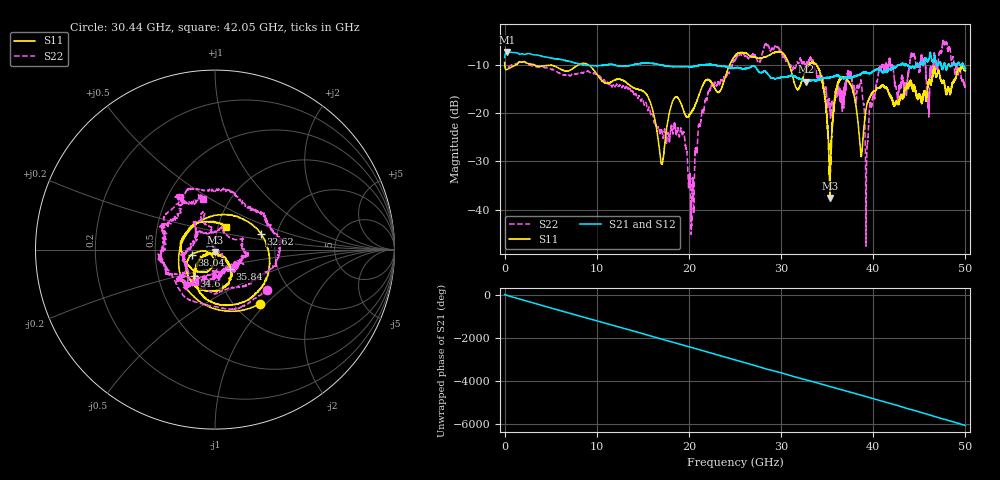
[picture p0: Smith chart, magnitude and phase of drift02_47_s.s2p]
!Created with skrf (http://scikit-rf.org).
# Hz S RI R 50.0
!freq ReS11 ImS11 ReS21 ImS21 ReS12 ImS12 ReS22 ImS22
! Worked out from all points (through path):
!   10001 points, 300 kHz to 50 GHz, reference 50 ohm
!   highest |S21| = -7.32 dB at 305.3 MHz (marker M1); lowest = -13.5 dB at 32.73 GHz (marker M2)
!   group delay of S21, straight-line fit = 335 ps
!   lowest |S11| = -37.6 dB at 35.31 GHz (marker M3), VSWR 1.03, Z = 50.1 - j1.32 ohm
!   |S11| at or under -10 dB: 3.226 GHz to 8.004 GHz (4.777 GHz wide, 85.1 % of centre); 9.106 GHz to 24.41 GHz (15.31 GHz wide, 91.3 % of centre); 33.85 GHz to end of sweep (the widest 3 of 9)
!   |S22| runs from -47.6 to -4.9 dB; largest |S21 - S12| = 0.013
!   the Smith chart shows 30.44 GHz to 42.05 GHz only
!   S11 on the Smith chart (normalised r, x): 30.44 GHz: 1.31, -0.93; 32.62 GHz: 1.65, +0.32; 34.6 GHz: 0.76, -0.23; 35.84 GHz: 1.15, -0.25; 38.04 GHz: 0.77, -0.04; 42.05 GHz: 1.10, +0.28
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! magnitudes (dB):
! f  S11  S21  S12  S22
! 300 kHz  -9.5  -8.5  -8.5  -9.4
! 305.3 MHz  -10.9  -7.3  -7.3  -10.6
! 8.335 GHz  -9.7  -9.9  -9.9  -11.6
! 16.67 GHz  -25.6  -9.9  -9.9  -22.9
! 19.3 GHz  -18.9  -10.4  -10.3  -24.4
! 20.37 GHz  -19.5  -10.3  -10.3  -34.7
! 21.94 GHz  -13.1  -10.0  -9.9  -17.1
! 25 GHz  -8.1  -10.6  -10.6  -9.0
! 30.44 GHz  -8.1  -12.5  -12.5  -8.7
! 32.62 GHz  -11.4  -13.2  -13.3  -10.3
! 32.73 GHz  -10.9  -13.5  -13.5  -9.8
! 33.34 GHz  -9.5  -13.1  -13.2  -9.0
! 34.6 GHz  -14.5  -12.8  -12.7  -13.5
! 35.31 GHz  -37.6  -12.5  -12.6  -19.2
! 35.84 GHz  -17.3  -12.2  -12.3  -16.0
! 38.04 GHz  -17.5  -12.4  -12.4  -17.0
! 38.69 GHz  -29.0  -11.8  -11.8  -13.4
! 39.32 GHz  -18.2  -11.6  -11.6  -27.5
! 41.67 GHz  -15.7  -10.9  -11.1  -9.8
! 42.05 GHz  -17.1  -10.8  -10.7  -10.8
! 47.76 GHz  -14.3  -9.7  -9.7  -5.5
! 50 GHz  -11.1  -10.8  -10.8  -14.2
